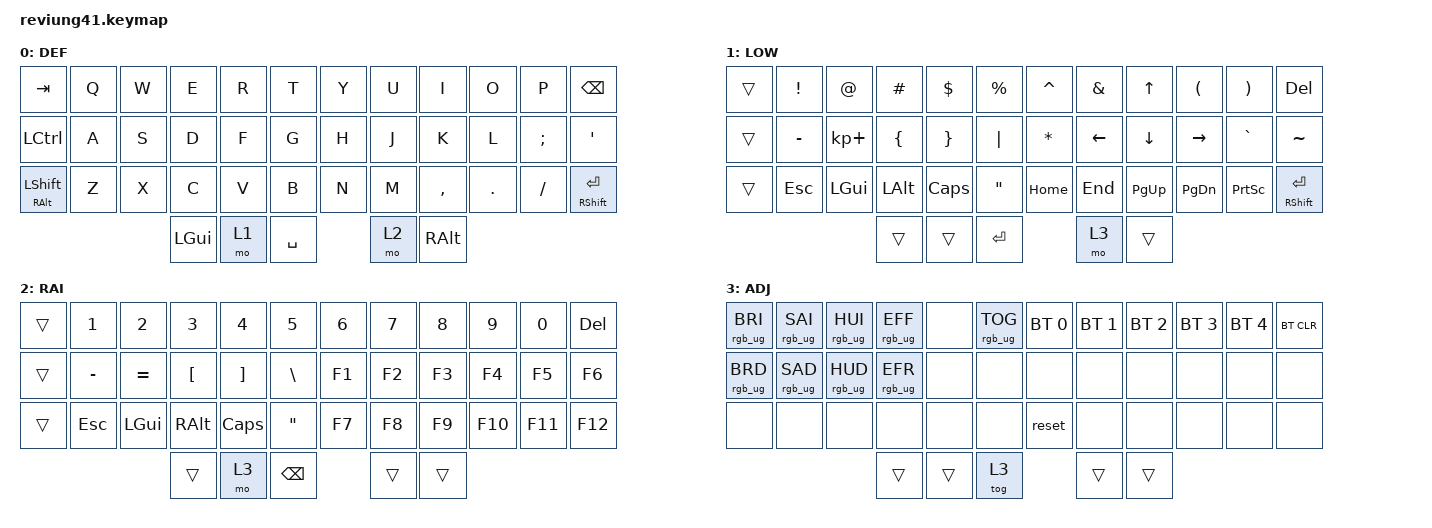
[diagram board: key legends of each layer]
/*
 * Copyright (c) 2020 The ZMK Contributors
 *
 * SPDX-License-Identifier: MIT
 */

#include <behaviors.dtsi>
#include <dt-bindings/zmk/keys.h>
#include <dt-bindings/zmk/bt.h>
#include <dt-bindings/zmk/rgb.h>
#include <dt-bindings/led/led.h>

// Layer aliases
#define DEF 0
#define LOW 1
#define RAI 2
#define ADJ 3

/ {
    conditional_layers {
        compatible = "zmk,conditional-layers";
        tri_layer {
            if-layers = <LOW RAI>;
            then-layer = <ADJ>;
        };
    };

/*
 * Temporarily here because nice nano v2 spi is not defined on ZMk Yet
 * Source: https://github.com/zmkfirmware/zmk/blob/main/app/boards/shields/reviung41/boards/nice_nano.overlay
 * GitHub Issue: https://github.com/zmkfirmware/zmk/issues/885
 */


        keymap {
                compatible = "zmk,keymap";
                default_layer {
                      label = "DEF";
// -------------------------------------------------------------------------------------
// |  TAB |  Q  |  W  |  E  |  R  |  T  |   |  Y  |  U   |  I  |  O  |  P  |   BKSP    |
// | CTRL |  A  |  S  |  D  |  F  |  G  |   |  H  |  J   |  K  |  L  |  ;  |    '      |
// | SHFT |  Z  |  X  |  C  |  V  |  B  |   |  N  |  M   |  ,  |  .  |  /  | SHFT(RET) |
//                         | GUI | LWR | SPC | RSE  | ALT |
                        bindings = <
   &kp TAB   &kp Q &kp W &kp E &kp R &kp T   &kp Y &kp U  &kp I     &kp O   &kp P    &kp BSPC
   &kp LCTRL &kp A &kp S &kp D &kp F &kp G   &kp H &kp J  &kp K     &kp L   &kp SEMI &kp SQT
   &mt RALT LSHFT &kp Z &kp X &kp C &kp V &kp B   &kp N &kp M  &kp COMMA &kp DOT &kp FSLH &mt RSHFT RET
                        &kp LGUI  &mo 1 &kp SPACE &mo 2  &kp RALT
                        >;
                };

                lower_layer {
                label = "LOW";
// ----------------------------------------------------------------------------------
// |    |  !  |  @  |  #  |  $  |  %  |   |  ^  |  &  |  UP  |  (  |  )  |    DEL    |
// |    |  _  |  +  |  {  |  }  | "|" |   | *   | LFT |  DWN | RGT |  `  |     ~     |
// |    | ESC | GUI | ALT | CAPS|  "  |   | HOME| END | PGUP| PGDN| PRSC| SHFT(RET) |
//                       |     |     | RET | ADJ |     |
                        bindings = <
   &trans &kp EXCL  &kp AT      &kp HASH &kp DLLR &kp PRCNT      &kp CARET &kp AMPS &kp UP    &kp LPAR  &kp RPAR  &kp DEL
   &trans &kp MINUS &kp KP_PLUS &kp LBRC &kp RBRC &kp PIPE       &kp ASTRK  &kp LEFT &kp DOWN    &kp RIGHT &kp GRAVE &kp TILDE
   &trans &kp ESC   &kp LGUI    &kp LALT &kp CLCK &kp DQT        &kp HOME  &kp END  &kp PG_UP &kp PG_DN &kp PSCRN &mt RSHFT RET
                                 &trans      &trans       &kp RET        &mo 3       &trans
                        >;
                };

                raise_layer {
                label = "RAI";
// -----------------------------------------------------------------------------------------
// |    |  1  |  2  |  3  |  4  |  5  |   |  6  |  7  |  8  |  9  |  0  | DEL |
// |    |  -  |  =  |  [  |  ]  |  \  |   | F1  | F2  | F3  | F4  | F5  | F6  |
// |    | ESC | GUI | ALT | CAPS|  "  |   | F7  | F8  | F9  | F10 | F11 | F12 |
//                       |     | ADJ | BKSP |    |     |
                        bindings = <
   &trans &kp N1    &kp N2    &kp N3    &kp N4    &kp N5        &kp N6    &kp N7    &kp N8    &kp N9    &kp N0    &kp DEL
   &trans &kp MINUS &kp EQUAL &kp LBKT  &kp RBKT  &kp BSLH      &kp F1    &kp F2    &kp F3    &kp F4    &kp F5    &kp F6
   &trans &kp ESC   &kp LGUI  &kp RALT  &kp CLCK  &kp DQT       &kp F7    &kp F8    &kp F9    &kp F10   &kp F11   &kp F12
                                &trans      &mo 3       &kp BSPC        &trans      &trans
                        >;
                };

                adjust_layer {
                label = "ADJ";
// -----------------------------------------------------------------------------------------
// | RGB BRI+ | RGB SAT+ | RGB HUE+ | RGB ANI+ |    | RGB TOG |   |  BT1  | BT2 | BT3 | BT4 | BT5 | BT CLR |
// | RGB BRI- | RGB SAT- | RGB HUE- | RGB ANI- |    |         |   |       |     |     |     |     |        |
// |          |          |          |          |    |         |   | RESET |     |     |     |     |        |
//                                              |     |     |     |     |     |
                        bindings = <
   &rgb_ug RGB_BRI &rgb_ug RGB_SAI &rgb_ug RGB_HUI &rgb_ug RGB_EFF &none &rgb_ug RGB_TOG    &bt BT_SEL 0 &bt BT_SEL 1 &bt BT_SEL 2 &bt BT_SEL 3 &bt BT_SEL 4 &bt BT_CLR
   &rgb_ug RGB_BRD &rgb_ug RGB_SAD &rgb_ug RGB_HUD &rgb_ug RGB_EFR &none &none              &none        &none        &none        &none        &none        &none
   &none           &none           &none           &none           &none &none              &reset       &none        &none        &none        &none        &none
                                                             &trans      &trans       &tog 3        &trans      &trans
                        >;
                };
        };
};


